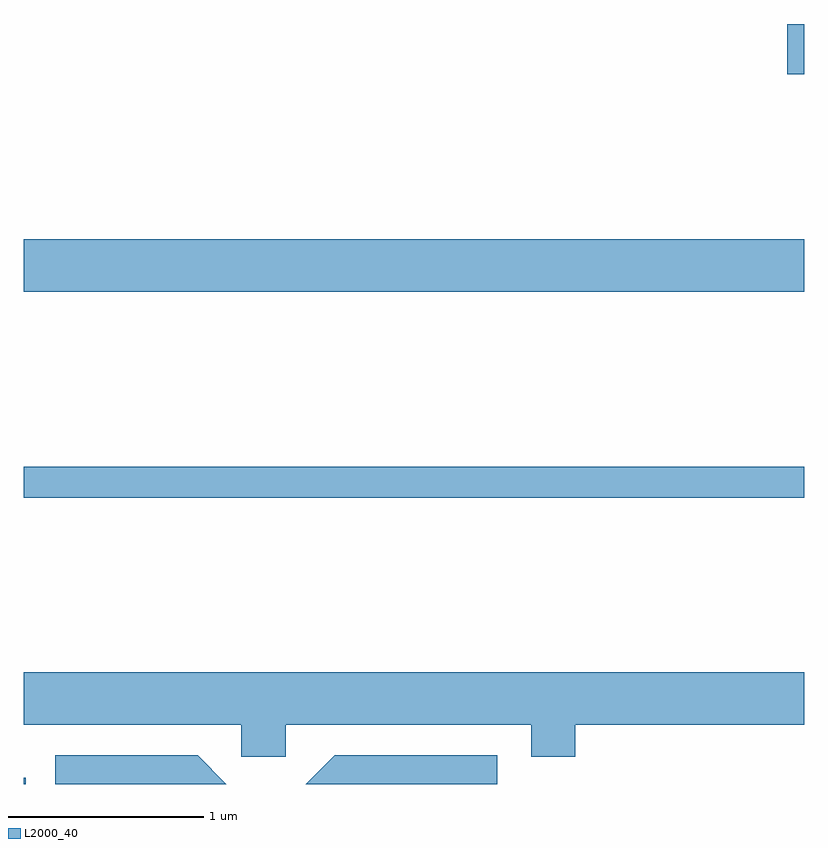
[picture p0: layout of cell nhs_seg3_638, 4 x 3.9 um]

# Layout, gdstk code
import gdstk
lib = gdstk.Library(unit=1e-6, precision=1e-09)
def R(c, l, rs):  # rectangles x0, y0, x1, y1
    for r in rs: c.add(gdstk.rectangle(r[:2], r[2:], *l))
def P(c, l, *ps):  # polygons
    for p in ps: c.add(gdstk.Polygon(p, *l))
L2000_40 = (2000, 40)

nhs_seg3_638 = lib.new_cell('nhs_seg3_638')
R(nhs_seg3_638, L2000_40, [(203.611,1167.892,203.619,1167.923), (203.611,1169.361,207.611,1169.519), (203.611,1170.416,207.611,1170.684), (207.526,1171.531,207.611,1171.789)])
P(nhs_seg3_638, L2000_40, [(204.954,1168.196),(206.211,1168.196),(206.211,1168.031),(206.439,1168.031),(206.439,1168.196),(207.611,1168.196),(207.611,1168.464),(203.611,1168.464),(203.611,1168.196),(204.726,1168.196),(204.726,1168.031),(204.954,1168.031)],
  [(206.039,1168.039),(205.204,1168.039),(205.057,1167.892),(206.039,1167.892)],
  [(204.502,1168.039),(203.771,1168.039),(203.771,1167.892),(204.649,1167.892)])

lib.write_gds('nhs_seg3_638.gds')
